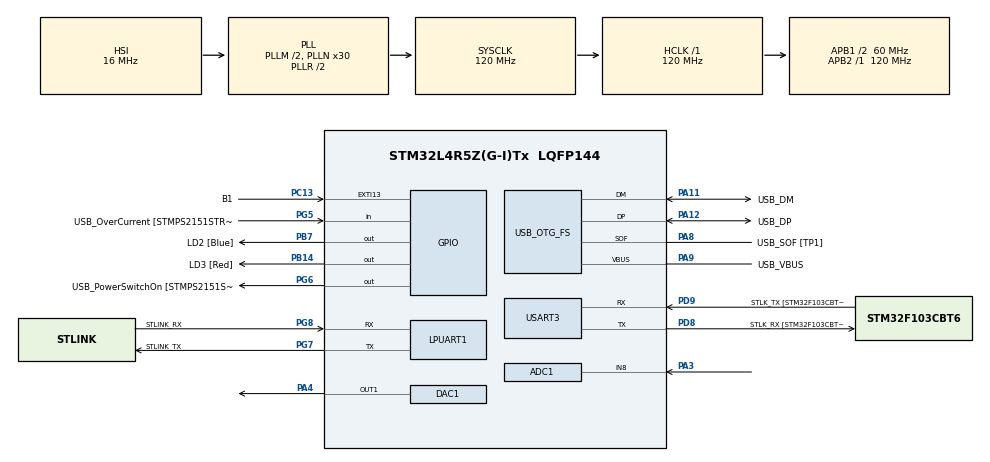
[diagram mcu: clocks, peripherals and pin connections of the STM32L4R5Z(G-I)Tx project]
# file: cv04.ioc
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ADC1.Channel-0\#ChannelRegularConversion=ADC_CHANNEL_8
ADC1.ExternalTrigConv=ADC_EXTERNALTRIG_T3_TRGO
ADC1.NbrOfConversionFlag=1
ADC1.OffsetNumber-0\#ChannelRegularConversion=ADC_OFFSET_NONE
ADC1.Rank-0\#ChannelRegularConversion=1
ADC1.SamplingTime-0\#ChannelRegularConversion=ADC_SAMPLETIME_2CYCLES_5
ADC1.master=1
FREERTOS.BinarySemaphores01=Semaphore1,Dynamic,NULL,Depleted;RegulationSemaphore,Dynamic,NULL,Depleted;CommunicationSemaphore,Dynamic,NULL,Depleted
FREERTOS.Mutexes01=CommunicationMutex,Dynamic,NULL,Available
FREERTOS.Queues01=Fronta,1,uint32_t,0,Dynamic,NULL,NULL
FREERTOS.Tasks01=Filtrace,24,256,StartFiltrace,Default,NULL,Dynamic,NULL,NULL;Regulace,24,128,StartRegulace,Default,NULL,Dynamic,NULL,NULL;Communication,25,128,StartCommunication,Default,NULL,Dynamic,NULL,NULL
FREERTOS.Timers01=myTimer01,Callback01,osTimerPeriodic,Default,NULL,Dynamic,NULL
FREERTOS.configUSE_NEWLIB_REENTRANT=1
Mcu.Family=STM32L4
Mcu.Name=STM32L4R5Z(G-I)Tx
Mcu.Package=LQFP144
NVIC.ADC1_IRQn=true\:5\:0\:false\:false\:true\:true\:true\:true\:true
NVIC.EXTI15_10_IRQn=true\:5\:0\:false\:false\:true\:true\:true\:true\:true
NVIC.PriorityGroup=NVIC_PRIORITYGROUP_4
NVIC.TIM3_IRQn=true\:5\:0\:false\:false\:true\:true\:true\:true\:true
NVIC.TIM4_IRQn=true\:5\:0\:false\:false\:true\:true\:true\:true\:true
NVIC.TIM6_DAC_IRQn=true\:5\:0\:false\:false\:true\:false\:false\:true\:true
NVIC.TIM7_IRQn=true\:5\:0\:false\:false\:true\:true\:true\:true\:true
NVIC.TimeBase=TIM6_DAC_IRQn
NVIC.TimeBaseIP=TIM6
PA10.GPIO_Label=USB_ID
PA10.Signal=USB_OTG_FS_ID
PA11.GPIO_Label=USB_DM
PA11.Mode=Device_Only
PA11.Signal=USB_OTG_FS_DM
PA12.GPIO_Label=USB_DP
PA12.Mode=Device_Only
PA12.Signal=USB_OTG_FS_DP
PA13\ (JTMS/SWDIO).GPIO_Label=TMS
PA13\ (JTMS/SWDIO).Mode=Trace_Asynchronous_SW
PA13\ (JTMS/SWDIO).Signal=SYS_JTMS-SWDIO
PA14\ (JTCK/SWCLK).GPIO_Label=TCK
PA14\ (JTCK/SWCLK).Mode=Trace_Asynchronous_SW
PA14\ (JTCK/SWCLK).Signal=SYS_JTCK-SWCLK
PA3.Signal=ADCx_IN8
PA4.Signal=COMP_DAC11_group
PA8.GPIO_Label=USB_SOF [TP1]
PA8.Mode=Activate_SOF_FS
PA8.Signal=USB_OTG_FS_SOF
PA9.GPIO_Label=USB_VBUS
PA9.Mode=Activate_VBUS
PA9.Signal=USB_OTG_FS_VBUS
PB14.GPIO_Label=LD3 [Red]
PB14.Signal=GPIO_Output
PB3\ (JTDO/TRACESWO).GPIO_Label=SWO
PB3\ (JTDO/TRACESWO).Mode=Trace_Asynchronous_SW
PB3\ (JTDO/TRACESWO).Signal=SYS_JTDO-SWO
PB7.GPIO_Label=LD2 [Blue]
PB7.Signal=GPIO_Output
PC13.GPIO_Label=B1
PC13.Signal=GPXTI13
PC14-OSC32_IN\ (PC14).Mode=LSE-External-Oscillator
PC14-OSC32_IN\ (PC14).Signal=RCC_OSC32_IN
PC15-OSC32_OUT\ (PC15).Mode=LSE-External-Oscillator
PC15-OSC32_OUT\ (PC15).Signal=RCC_OSC32_OUT
PD8.GPIO_Label=STLK_RX [STM32F103CBT6_PA3]
PD8.Mode=Asynchronous
PD8.Signal=USART3_TX
PD9.GPIO_Label=STLK_TX [STM32F103CBT6_PA2]
PD9.Mode=Asynchronous
PD9.Signal=USART3_RX
PG5.GPIO_Label=USB_OverCurrent [STMPS2151STR_FAULT]
PG5.Signal=GPIO_Input
PG6.GPIO_Label=USB_PowerSwitchOn [STMPS2151STR_EN]
PG6.Signal=GPIO_Output
PG7.GPIO_Label=STLINK_TX
PG7.Mode=Asynchronous
PG7.Signal=LPUART1_TX
PG8.GPIO_Label=STLINK_RX
PG8.Mode=Asynchronous
PG8.Signal=LPUART1_RX
PH0-OSC_IN\ (PH0).Signal=RCC_OSC_IN
PH1-OSC_OUT\ (PH1).Signal=RCC_OSC_OUT
ProjectManager.HeapSize=0x200
ProjectManager.StackSize=0x400
ProjectManager.TargetToolchain=STM32CubeIDE
RCC.48MHZClocksFreq_Value=24000000
RCC.ADCFreq_Value=96000000
RCC.AHBFreq_Value=120000000
RCC.APB1CLKDivider=RCC_HCLK_DIV2
RCC.APB1Freq_Value=60000000
RCC.APB1TimFreq_Value=120000000
RCC.APB2Freq_Value=120000000
RCC.APB2TimFreq_Value=120000000
RCC.CK48CLockSelection=RCC_USBCLKSOURCE_HSI48
RCC.CortexFreq_Value=120000000
RCC.HCLKFreq_Value=120000000
RCC.HSE_VALUE=8000000
RCC.HSI48_VALUE=48000000
RCC.HSI_VALUE=16000000
RCC.MSI_VALUE=4000000
RCC.PLLM1=2
RCC.PLLMUL=RCC_PLL_MUL9
RCC.PLLN=30
RCC.PLLSAI1N=12
RCC.PLLSourceVirtual=RCC_PLLSOURCE_HSI
RCC.PRESCALERUSB=RCC_USBCLKSOURCE_PLL_DIV1_5
RCC.SYSCLKFreq_VALUE=120000000
RCC.SYSCLKSource=RCC_SYSCLKSOURCE_PLLCLK
RCC.SYSCLKSourceVirtual=RCC_SYSCLKSOURCE_PLLCLK
RCC.USBFreq_Value=48000000
RCC.VCOOutputFreq_Value=240000000
SH.ADCx_IN8.0=ADC1_IN8,IN8-Single-Ended
SH.COMP_DAC11_group.0=DAC1_OUT1,DAC_OUT1
TIM3.AutoReloadPreload=TIM_AUTORELOAD_PRELOAD_ENABLE
TIM3.Period=10000-1
TIM3.Prescaler=12-1
TIM3.TIM_MasterOutputTrigger=TIM_TRGO_UPDATE
TIM4.AutoReloadPreload=TIM_AUTORELOAD_PRELOAD_ENABLE
TIM4.Period=10000-1
TIM4.Prescaler=6000-1
TIM4.TIM_MasterOutputTrigger=TIM_TRGO_UPDATE
TIM7.AutoReloadPreload=TIM_AUTORELOAD_PRELOAD_ENABLE
TIM7.Period=10000-1
TIM7.Prescaler=240-1
TIM7.TIM_MasterOutputTrigger=TIM_TRGO_UPDATE
USART3.VirtualMode-Asynchronous=VM_ASYNC
USB_OTG_FS.VirtualMode=Device_Only
VP_FREERTOS_VS_CMSIS_V2.Mode=CMSIS_V2
VP_SYS_VS_tim6.Mode=TIM6
VP_TIM3_VS_ClockSourceINT.Mode=Internal
VP_TIM4_VS_ClockSourceINT.Mode=Internal
VP_TIM7_VS_ClockSourceINT.Mode=Enable_Timer
board=NUCLEO-L4R5ZI

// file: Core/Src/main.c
/* USER CODE BEGIN Header */
/**
  ******************************************************************************
  * @file           : main.c
  * @brief          : Main program body
  ******************************************************************************
  * @attention
  *
  * Copyright (c) 2024 STMicroelectronics.
  * All rights reserved.
  *
  * This software is licensed under terms that can be found in the LICENSE file
  * in the root directory of this software component.
  * If no LICENSE file comes with this software, it is provided AS-IS.
  *
  ******************************************************************************
  */
/* USER CODE END Header */
#include "main.h"
#include "cmsis_os.h"
#include "queue.h"

/* USER CODE BEGIN PM */
struct DataCom{
	double Setpoint;
	double ControlledVariable;
	double ManipulatedVariable;
	double ControlError;
	double PropGain;
	double IntegralTimeConstant;
} ControlData;
double GlobalIntergralTimeConstant=2;
double GlobalPropGain=1;
double GlobalControlError=0;
double GlobalManipulatedVariable=0;
double GlobalControlledVariable=0;
double GlobalSetpoint=0;
uint32_t ExecTime=0;
uint32_t FilterOutput=0;
uint32_t k = 0;
uint32_t N = 20;
uint32_t ADCInput = 0;
double DAC_OUTPUT = 0;
double RPM = 0;
double Setpoint = 0;
double ControlledVariable = 0;
uint32_t FiltrData = 0;
double ManipulatedVariable = 0;
double ControlError = 0;
double PropGain = 1;
double IntegralTimeConstant = 2;
uint32_t CommunicationExecutionTime;
uint32_t ControlExecutionTime;

#define N 20

/* USER CODE END PM */

ADC_HandleTypeDef hadc1;

DAC_HandleTypeDef hdac1;

UART_HandleTypeDef hlpuart1;
UART_HandleTypeDef huart3;

TIM_HandleTypeDef htim3;
TIM_HandleTypeDef htim4;
TIM_HandleTypeDef htim7;

PCD_HandleTypeDef hpcd_USB_OTG_FS;

/* Definitions for Filtrace */
osThreadId_t FiltraceHandle;
const osThreadAttr_t Filtrace_attributes = {
  .name = "Filtrace",
  .stack_size = 256 * 4,
  .priority = (osPriority_t) osPriorityNormal,
};
/* Definitions for Regulace */
osThreadId_t RegulaceHandle;
const osThreadAttr_t Regulace_attributes = {
  .name = "Regulace",
  .stack_size = 128 * 4,
  .priority = (osPriority_t) osPriorityNormal,
};
/* Definitions for Communication */
osThreadId_t CommunicationHandle;
const osThreadAttr_t Communication_attributes = {
  .name = "Communication",
  .stack_size = 128 * 4,
  .priority = (osPriority_t) osPriorityNormal1,
};
/* Definitions for Fronta */
osMessageQueueId_t FrontaHandle;
const osMessageQueueAttr_t Fronta_attributes = {
  .name = "Fronta"
};
/* Definitions for myTimer01 */
osTimerId_t myTimer01Handle;
const osTimerAttr_t myTimer01_attributes = {
  .name = "myTimer01"
};
/* Definitions for CommunicationMutex */
osMutexId_t CommunicationMutexHandle;
const osMutexAttr_t CommunicationMutex_attributes = {
  .name = "CommunicationMutex"
};
/* Definitions for Semaphore1 */
osSemaphoreId_t Semaphore1Handle;
const osSemaphoreAttr_t Semaphore1_attributes = {
  .name = "Semaphore1"
};
/* Definitions for RegulationSemaphore */
osSemaphoreId_t RegulationSemaphoreHandle;
const osSemaphoreAttr_t RegulationSemaphore_attributes = {
  .name = "RegulationSemaphore"
};
/* Definitions for CommunicationSemaphore */
osSemaphoreId_t CommunicationSemaphoreHandle;
const osSemaphoreAttr_t CommunicationSemaphore_attributes = {
  .name = "CommunicationSemaphore"
};

void SystemClock_Config(void);
static void MX_GPIO_Init(void);
static void MX_LPUART1_UART_Init(void);
static void MX_USART3_UART_Init(void);
static void MX_USB_OTG_FS_PCD_Init(void);
static void MX_TIM7_Init(void);
static void MX_ADC1_Init(void);
static void MX_TIM3_Init(void);
static void MX_DAC1_Init(void);
static void MX_TIM4_Init(void);
void StartFiltrace(void *argument);
void StartRegulace(void *argument);
void StartCommunication(void *argument);
void Callback01(void *argument);

int main(void)
{

  /* MCU Configuration--------------------------------------------------------*/

  /* Reset of all peripherals, Initializes the Flash interface and the Systick. */
  HAL_Init();

  /* Configure the system clock */
  SystemClock_Config();

  /* Initialize all configured peripherals */
  MX_GPIO_Init();
  MX_LPUART1_UART_Init();
  MX_USART3_UART_Init();
  MX_USB_OTG_FS_PCD_Init();
  MX_TIM7_Init();
  MX_ADC1_Init();
  MX_TIM3_Init();
  MX_DAC1_Init();
  MX_TIM4_Init();
  /* USER CODE BEGIN 2 */
  ControlData.ControlError=0;
  ControlData.ControlledVariable=0;
  ControlData.IntegralTimeConstant=1;
  ControlData.ManipulatedVariable=0;
  ControlData.PropGain=2;
  ControlData.Setpoint=0;
  HAL_TIM_Base_Start_IT(&htim3);
  HAL_TIM_Base_Start_IT(&htim4);
  HAL_TIM_Base_Start_IT(&htim7);
  HAL_ADC_Start_IT(&hadc1);
  HAL_DAC_Start(&hdac1, DAC1_CHANNEL_1);

  /* USER CODE END 2 */

  /* Init scheduler */
  osKernelInitialize();
  /* Create the mutex(es) */
  /* creation of CommunicationMutex */
  CommunicationMutexHandle = osMutexNew(&CommunicationMutex_attributes);

  /* Create the semaphores(s) */
  /* creation of Semaphore1 */
  Semaphore1Handle = osSemaphoreNew(1, 0, &Semaphore1_attributes);

  /* creation of RegulationSemaphore */
  RegulationSemaphoreHandle = osSemaphoreNew(1, 0, &RegulationSemaphore_attributes);

  /* creation of CommunicationSemaphore */
  CommunicationSemaphoreHandle = osSemaphoreNew(1, 0, &CommunicationSemaphore_attributes);

  /* Create the timer(s) */
  /* creation of myTimer01 */
  myTimer01Handle = osTimerNew(Callback01, osTimerPeriodic, NULL, &myTimer01_attributes);

  /* USER CODE BEGIN RTOS_TIMERS */
  /* start timers, add new ones, ... */
  osTimerStart(myTimer01Handle, 500);
  /* USER CODE END RTOS_TIMERS */

  /* Create the queue(s) */
  /* creation of Fronta */
  FrontaHandle = osMessageQueueNew (1, sizeof(uint32_t), &Fronta_attributes);

  /* Create the thread(s) */
  /* creation of Filtrace */
  FiltraceHandle = osThreadNew(StartFiltrace, NULL, &Filtrace_attributes);

  /* creation of Regulace */
  RegulaceHandle = osThreadNew(StartRegulace, NULL, &Regulace_attributes);

  /* creation of Communication */
  CommunicationHandle = osThreadNew(StartCommunication, NULL, &Communication_attributes);

  /* Start scheduler */
  osKernelStart();

  /* We should never get here as control is now taken by the scheduler */

  /* Infinite loop */
  while (1)
  {

  }
}

void SystemClock_Config(void)
{
  RCC_OscInitTypeDef RCC_OscInitStruct = {0};
  RCC_ClkInitTypeDef RCC_ClkInitStruct = {0};

  /** Configure the main internal regulator output voltage
  */
  if (HAL_PWREx_ControlVoltageScaling(PWR_REGULATOR_VOLTAGE_SCALE1_BOOST) != HAL_OK)
  {
    Error_Handler();
  }

  /** Initializes the RCC Oscillators according to the specified parameters
  * in the RCC_OscInitTypeDef structure.
  */
  RCC_OscInitStruct.OscillatorType = RCC_OSCILLATORTYPE_HSI48|RCC_OSCILLATORTYPE_HSI;
  RCC_OscInitStruct.HSIState = RCC_HSI_ON;
  RCC_OscInitStruct.HSI48State = RCC_HSI48_ON;
  RCC_OscInitStruct.HSICalibrationValue = RCC_HSICALIBRATION_DEFAULT;
  RCC_OscInitStruct.PLL.PLLState = RCC_PLL_ON;
  RCC_OscInitStruct.PLL.PLLSource = RCC_PLLSOURCE_HSI;
  RCC_OscInitStruct.PLL.PLLM = 2;
  RCC_OscInitStruct.PLL.PLLN = 30;
  RCC_OscInitStruct.PLL.PLLP = RCC_PLLP_DIV2;
  RCC_OscInitStruct.PLL.PLLQ = RCC_PLLQ_DIV2;
  RCC_OscInitStruct.PLL.PLLR = RCC_PLLR_DIV2;
  if (HAL_RCC_OscConfig(&RCC_OscInitStruct) != HAL_OK)
  {
    Error_Handler();
  }

  /** Initializes the CPU, AHB and APB buses clocks
  */
  RCC_ClkInitStruct.ClockType = RCC_CLOCKTYPE_HCLK|RCC_CLOCKTYPE_SYSCLK
                              |RCC_CLOCKTYPE_PCLK1|RCC_CLOCKTYPE_PCLK2;
  RCC_ClkInitStruct.SYSCLKSource = RCC_SYSCLKSOURCE_PLLCLK;
  RCC_ClkInitStruct.AHBCLKDivider = RCC_SYSCLK_DIV1;
  RCC_ClkInitStruct.APB1CLKDivider = RCC_HCLK_DIV2;
  RCC_ClkInitStruct.APB2CLKDivider = RCC_HCLK_DIV1;

  if (HAL_RCC_ClockConfig(&RCC_ClkInitStruct, FLASH_LATENCY_5) != HAL_OK)
  {
    Error_Handler();
  }
}

static void MX_ADC1_Init(void)
{

  ADC_ChannelConfTypeDef sConfig = {0};

  /** Common config
  */
  hadc1.Instance = ADC1;
  hadc1.Init.ClockPrescaler = ADC_CLOCK_ASYNC_DIV2;
  hadc1.Init.Resolution = ADC_RESOLUTION_12B;
  hadc1.Init.DataAlign = ADC_DATAALIGN_RIGHT;
  hadc1.Init.ScanConvMode = ADC_SCAN_DISABLE;
  hadc1.Init.EOCSelection = ADC_EOC_SINGLE_CONV;
  hadc1.Init.LowPowerAutoWait = DISABLE;
  hadc1.Init.ContinuousConvMode = DISABLE;
  hadc1.Init.NbrOfConversion = 1;
  hadc1.Init.DiscontinuousConvMode = DISABLE;
  hadc1.Init.ExternalTrigConv = ADC_EXTERNALTRIG_T3_TRGO;
  hadc1.Init.ExternalTrigConvEdge = ADC_EXTERNALTRIGCONVEDGE_RISING;
  hadc1.Init.DMAContinuousRequests = DISABLE;
  hadc1.Init.Overrun = ADC_OVR_DATA_PRESERVED;
  hadc1.Init.OversamplingMode = DISABLE;
  if (HAL_ADC_Init(&hadc1) != HAL_OK)
  {
    Error_Handler();
  }

  /** Configure Regular Channel
  */
  sConfig.Channel = ADC_CHANNEL_8;
  sConfig.Rank = ADC_REGULAR_RANK_1;
  sConfig.SamplingTime = ADC_SAMPLETIME_2CYCLES_5;
  sConfig.SingleDiff = ADC_SINGLE_ENDED;
  sConfig.OffsetNumber = ADC_OFFSET_NONE;
  sConfig.Offset = 0;
  if (HAL_ADC_ConfigChannel(&hadc1, &sConfig) != HAL_OK)
  {
    Error_Handler();
  }
  /* USER CODE BEGIN ADC1_Init 2 */
  HAL_ADCEx_Calibration_Start(&hadc1, ADC_SINGLE_ENDED);

  /* USER CODE END ADC1_Init 2 */

}

static void MX_DAC1_Init(void)
{

  DAC_ChannelConfTypeDef sConfig = {0};

  /** DAC Initialization
  */
  hdac1.Instance = DAC1;
  if (HAL_DAC_Init(&hdac1) != HAL_OK)
  {
    Error_Handler();
  }

  /** DAC channel OUT1 config
  */
  sConfig.DAC_SampleAndHold = DAC_SAMPLEANDHOLD_DISABLE;
  sConfig.DAC_Trigger = DAC_TRIGGER_NONE;
  sConfig.DAC_HighFrequency = DAC_HIGH_FREQUENCY_INTERFACE_MODE_DISABLE;
  sConfig.DAC_OutputBuffer = DAC_OUTPUTBUFFER_ENABLE;
  sConfig.DAC_ConnectOnChipPeripheral = DAC_CHIPCONNECT_DISABLE;
  sConfig.DAC_UserTrimming = DAC_TRIMMING_FACTORY;
  if (HAL_DAC_ConfigChannel(&hdac1, &sConfig, DAC_CHANNEL_1) != HAL_OK)
  {
    Error_Handler();
  }

}

static void MX_LPUART1_UART_Init(void)
{

  hlpuart1.Instance = LPUART1;
  hlpuart1.Init.BaudRate = 209700;
  hlpuart1.Init.WordLength = UART_WORDLENGTH_7B;
  hlpuart1.Init.StopBits = UART_STOPBITS_1;
  hlpuart1.Init.Parity = UART_PARITY_NONE;
  hlpuart1.Init.Mode = UART_MODE_TX_RX;
  hlpuart1.Init.HwFlowCtl = UART_HWCONTROL_NONE;
  hlpuart1.Init.OneBitSampling = UART_ONE_BIT_SAMPLE_DISABLE;
  hlpuart1.Init.ClockPrescaler = UART_PRESCALER_DIV1;
  hlpuart1.AdvancedInit.AdvFeatureInit = UART_ADVFEATURE_NO_INIT;
  hlpuart1.FifoMode = UART_FIFOMODE_DISABLE;
  if (HAL_UART_Init(&hlpuart1) != HAL_OK)
  {
    Error_Handler();
  }
  if (HAL_UARTEx_SetTxFifoThreshold(&hlpuart1, UART_TXFIFO_THRESHOLD_1_8) != HAL_OK)
  {
    Error_Handler();
  }
  if (HAL_UARTEx_SetRxFifoThreshold(&hlpuart1, UART_RXFIFO_THRESHOLD_1_8) != HAL_OK)
  {
    Error_Handler();
  }
  if (HAL_UARTEx_DisableFifoMode(&hlpuart1) != HAL_OK)
  {
    Error_Handler();
  }

}

static void MX_USART3_UART_Init(void)
{

  huart3.Instance = USART3;
  huart3.Init.BaudRate = 115200;
  huart3.Init.WordLength = UART_WORDLENGTH_8B;
  huart3.Init.StopBits = UART_STOPBITS_1;
  huart3.Init.Parity = UART_PARITY_NONE;
  huart3.Init.Mode = UART_MODE_TX_RX;
  huart3.Init.HwFlowCtl = UART_HWCONTROL_NONE;
  huart3.Init.OverSampling = UART_OVERSAMPLING_16;
  huart3.Init.OneBitSampling = UART_ONE_BIT_SAMPLE_DISABLE;
  huart3.Init.ClockPrescaler = UART_PRESCALER_DIV1;
  huart3.AdvancedInit.AdvFeatureInit = UART_ADVFEATURE_NO_INIT;
  if (HAL_UART_Init(&huart3) != HAL_OK)
  {
    Error_Handler();
  }
  if (HAL_UARTEx_SetTxFifoThreshold(&huart3, UART_TXFIFO_THRESHOLD_1_8) != HAL_OK)
  {
    Error_Handler();
  }
  if (HAL_UARTEx_SetRxFifoThreshold(&huart3, UART_RXFIFO_THRESHOLD_1_8) != HAL_OK)
  {
    Error_Handler();
  }
  if (HAL_UARTEx_DisableFifoMode(&huart3) != HAL_OK)
  {
    Error_Handler();
  }

}

static void MX_TIM3_Init(void)
{

  TIM_ClockConfigTypeDef sClockSourceConfig = {0};
  TIM_MasterConfigTypeDef sMasterConfig = {0};

  htim3.Instance = TIM3;
  htim3.Init.Prescaler = 12-1;
  htim3.Init.CounterMode = TIM_COUNTERMODE_UP;
  htim3.Init.Period = 10000-1;
  htim3.Init.ClockDivision = TIM_CLOCKDIVISION_DIV1;
  htim3.Init.AutoReloadPreload = TIM_AUTORELOAD_PRELOAD_ENABLE;
  if (HAL_TIM_Base_Init(&htim3) != HAL_OK)
  {
    Error_Handler();
  }
  sClockSourceConfig.ClockSource = TIM_CLOCKSOURCE_INTERNAL;
  if (HAL_TIM_ConfigClockSource(&htim3, &sClockSourceConfig) != HAL_OK)
  {
    Error_Handler();
  }
  sMasterConfig.MasterOutputTrigger = TIM_TRGO_UPDATE;
  sMasterConfig.MasterSlaveMode = TIM_MASTERSLAVEMODE_DISABLE;
  if (HAL_TIMEx_MasterConfigSynchronization(&htim3, &sMasterConfig) != HAL_OK)
  {
    Error_Handler();
  }

}

static void MX_TIM4_Init(void)
{

  TIM_ClockConfigTypeDef sClockSourceConfig = {0};
  TIM_MasterConfigTypeDef sMasterConfig = {0};

  htim4.Instance = TIM4;
  htim4.Init.Prescaler = 6000-1;
  htim4.Init.CounterMode = TIM_COUNTERMODE_UP;
  htim4.Init.Period = 10000-1;
  htim4.Init.ClockDivision = TIM_CLOCKDIVISION_DIV1;
  htim4.Init.AutoReloadPreload = TIM_AUTORELOAD_PRELOAD_ENABLE;
  if (HAL_TIM_Base_Init(&htim4) != HAL_OK)
  {
    Error_Handler();
  }
  sClockSourceConfig.ClockSource = TIM_CLOCKSOURCE_INTERNAL;
  if (HAL_TIM_ConfigClockSource(&htim4, &sClockSourceConfig) != HAL_OK)
  {
    Error_Handler();
  }
  sMasterConfig.MasterOutputTrigger = TIM_TRGO_UPDATE;
  sMasterConfig.MasterSlaveMode = TIM_MASTERSLAVEMODE_DISABLE;
  if (HAL_TIMEx_MasterConfigSynchronization(&htim4, &sMasterConfig) != HAL_OK)
  {
    Error_Handler();
  }

}

static void MX_TIM7_Init(void)
{

  TIM_MasterConfigTypeDef sMasterConfig = {0};

  htim7.Instance = TIM7;
  htim7.Init.Prescaler = 240-1;
  htim7.Init.CounterMode = TIM_COUNTERMODE_UP;
  htim7.Init.Period = 10000-1;
  htim7.Init.AutoReloadPreload = TIM_AUTORELOAD_PRELOAD_ENABLE;
  if (HAL_TIM_Base_Init(&htim7) != HAL_OK)
  {
    Error_Handler();
  }
  sMasterConfig.MasterOutputTrigger = TIM_TRGO_UPDATE;
  sMasterConfig.MasterSlaveMode = TIM_MASTERSLAVEMODE_DISABLE;
  if (HAL_TIMEx_MasterConfigSynchronization(&htim7, &sMasterConfig) != HAL_OK)
  {
    Error_Handler();
  }

}

static void MX_USB_OTG_FS_PCD_Init(void)
{

  hpcd_USB_OTG_FS.Instance = USB_OTG_FS;
  hpcd_USB_OTG_FS.Init.dev_endpoints = 6;
  hpcd_USB_OTG_FS.Init.speed = PCD_SPEED_FULL;
  hpcd_USB_OTG_FS.Init.phy_itface = PCD_PHY_EMBEDDED;
  hpcd_USB_OTG_FS.Init.Sof_enable = ENABLE;
  hpcd_USB_OTG_FS.Init.low_power_enable = DISABLE;
  hpcd_USB_OTG_FS.Init.lpm_enable = DISABLE;
  hpcd_USB_OTG_FS.Init.battery_charging_enable = ENABLE;
  hpcd_USB_OTG_FS.Init.use_dedicated_ep1 = DISABLE;
  hpcd_USB_OTG_FS.Init.vbus_sensing_enable = ENABLE;
  if (HAL_PCD_Init(&hpcd_USB_OTG_FS) != HAL_OK)
  {
    Error_Handler();
  }

}

static void MX_GPIO_Init(void)
{
  GPIO_InitTypeDef GPIO_InitStruct = {0};

  /* GPIO Ports Clock Enable */
  __HAL_RCC_GPIOC_CLK_ENABLE();
  __HAL_RCC_GPIOH_CLK_ENABLE();
  __HAL_RCC_GPIOA_CLK_ENABLE();
  __HAL_RCC_GPIOB_CLK_ENABLE();
  __HAL_RCC_GPIOD_CLK_ENABLE();
  __HAL_RCC_GPIOG_CLK_ENABLE();
  HAL_PWREx_EnableVddIO2();

  /*Configure GPIO pin Output Level */
  HAL_GPIO_WritePin(GPIOB, LD3_Pin|LD2_Pin, GPIO_PIN_RESET);

  /*Configure GPIO pin Output Level */
  HAL_GPIO_WritePin(USB_PowerSwitchOn_GPIO_Port, USB_PowerSwitchOn_Pin, GPIO_PIN_RESET);

  /*Configure GPIO pin : B1_Pin */
  GPIO_InitStruct.Pin = B1_Pin;
  GPIO_InitStruct.Mode = GPIO_MODE_IT_RISING;
  GPIO_InitStruct.Pull = GPIO_NOPULL;
  HAL_GPIO_Init(B1_GPIO_Port, &GPIO_InitStruct);

  /*Configure GPIO pins : LD3_Pin LD2_Pin */
  GPIO_InitStruct.Pin = LD3_Pin|LD2_Pin;
  GPIO_InitStruct.Mode = GPIO_MODE_OUTPUT_PP;
  GPIO_InitStruct.Pull = GPIO_NOPULL;
  GPIO_InitStruct.Speed = GPIO_SPEED_FREQ_LOW;
  HAL_GPIO_Init(GPIOB, &GPIO_InitStruct);

  /*Configure GPIO pin : USB_OverCurrent_Pin */
  GPIO_InitStruct.Pin = USB_OverCurrent_Pin;
  GPIO_InitStruct.Mode = GPIO_MODE_INPUT;
  GPIO_InitStruct.Pull = GPIO_NOPULL;
  HAL_GPIO_Init(USB_OverCurrent_GPIO_Port, &GPIO_InitStruct);

  /*Configure GPIO pin : USB_PowerSwitchOn_Pin */
  GPIO_InitStruct.Pin = USB_PowerSwitchOn_Pin;
  GPIO_InitStruct.Mode = GPIO_MODE_OUTPUT_PP;
  GPIO_InitStruct.Pull = GPIO_NOPULL;
  GPIO_InitStruct.Speed = GPIO_SPEED_FREQ_LOW;
  HAL_GPIO_Init(USB_PowerSwitchOn_GPIO_Port, &GPIO_InitStruct);

  /* EXTI interrupt init*/
  HAL_NVIC_SetPriority(EXTI15_10_IRQn, 5, 0);
  HAL_NVIC_EnableIRQ(EXTI15_10_IRQn);

}

/* USER CODE BEGIN 4 */

void HAL_ADC_ConvCpltCallback (ADC_HandleTypeDef * hadc) {
	osSemaphoreRelease(Semaphore1Handle);
}

/* USER CODE END 4 */

void StartFiltrace(void *argument)
{
  /* USER CODE BEGIN 5 */
   // Proměnná pro aktuální vzorek
  uint32_t buffer[N] = {0}; // Kruhový buffer pro N vzorků, inicializován na 0
  int index = 0; // Index pro přístup do bufferu
  uint32_t sum = 0; // Součet všech prvků v bufferu
  /* Infinite loop */
  for (;;)
  {
    ADCInput = HAL_ADC_GetValue(&hadc1);

    sum -= buffer[index];
    buffer[index] = ADCInput;
    sum += ADCInput;

    index = (index + 1) % N;
    xQueueOverwrite(FrontaHandle,&sum);
    FilterOutput = sum / N;
    //HAL_DAC_SetValue(&hdac1, DAC1_CHANNEL_1, DAC_ALIGN_12B_R, DACOut);

    osSemaphoreAcquire(Semaphore1Handle, osWaitForever);
  }
  /* USER CODE END 5 */
}

void StartRegulace(void *argument)
{
  /* USER CODE BEGIN StartRegulace */
  /* Infinite loop */
	double Pterm;
	double Iterm;
	uint32_t Umin = 0;
	uint32_t Umax = 4095;
	double Epast=0,  Ipast=0;
	double Tsampling=0.02;
	double Ti=2;
	uint32_t StartTime;
	osStatus_t MutexStat;
  for(;;)
  {
	  osSemaphoreAcquire(RegulationSemaphoreHandle, osWaitForever);
	  StartTime = TIM3->CNT;
	  MutexStat=osMutexAcquire(CommunicationMutexHandle, 200);
	  if (MutexStat==osOK){
		  Ti = ControlData.IntegralTimeConstant;
		  PropGain = ControlData.PropGain;
		  Setpoint = ControlData.Setpoint;
	  }
	  osMessageQueueGet(FrontaHandle, &FiltrData, NULL, 2);
	  ControlledVariable=FiltrData*1.0/(N*1.0);
	  RPM=1400*ControlledVariable/1700.0;
	  ControlError=Setpoint-RPM;
	  Pterm=PropGain*ControlError;
	  Iterm=Ipast+0.5*PropGain*Tsampling*(ControlError+Epast)/Ti;
  	  ManipulatedVariable=Pterm+Iterm;
  	  if (ManipulatedVariable>Umax) {
  		  ManipulatedVariable=Umax;
  		  Iterm=Ipast;
  	  }
  	  if (ManipulatedVariable<Umin) {
  		  ManipulatedVariable=Umin;
  		  Iterm=Ipast;
  	  }
  	  DAC_OUTPUT=ManipulatedVariable;
  	  HAL_DAC_SetValue(&hdac1, DAC1_CHANNEL_1, DAC_ALIGN_12B_R, ManipulatedVariable);
  	  Ipast=Iterm;
  	  Epast=ControlError;
	  if (MutexStat==osOK){
	  	  ControlData.ManipulatedVariable = ManipulatedVariable;
	  	  ControlData.ControlError = ControlError;
	  	  ControlData.ControlledVariable = RPM;
		  osMutexRelease(CommunicationMutexHandle);
	  }
  	  ControlExecutionTime = TIM3->CNT - StartTime;
  }
  /* USER CODE END StartRegulace */
}

void StartCommunication(void *argument)
{
}

/* Callback01 function */
void Callback01(void *argument)
{
  /* USER CODE BEGIN Callback01 */
	  uint32_t StartTime;
	  osStatus_t MutexStat;
	  for(;;)
	  {
		  StartTime = TIM3->CNT;
		  MutexStat=osMutexAcquire(CommunicationMutexHandle, 200);
		  if (MutexStat==osOK){
			ControlData.Setpoint = GlobalSetpoint;
			ControlData.PropGain = GlobalPropGain;
			ControlData.IntegralTimeConstant = GlobalIntergralTimeConstant;
			GlobalControlError = ControlData.ControlError;
			GlobalControlledVariable = ControlData.ControlledVariable;
			GlobalManipulatedVariable = ControlData.ManipulatedVariable;
		  }
		  CommunicationExecutionTime = TIM3->CNT - StartTime;
		  osMutexRelease(CommunicationMutexHandle);
	  }
  /* USER CODE END Callback01 */
}

void HAL_TIM_PeriodElapsedCallback(TIM_HandleTypeDef *htim)
{
  if (htim->Instance == TIM6) {
    HAL_IncTick();
  }
  /* USER CODE BEGIN Callback 1 */
	if (htim==&htim3){
	}
	if (htim==&htim7){
		osSemaphoreRelease(RegulationSemaphoreHandle);
	}
	if (htim==&htim4){
		osSemaphoreRelease(CommunicationSemaphoreHandle);
	}
  /* USER CODE END Callback 1 */
}

void Error_Handler(void)
{
  __disable_irq();
  while (1)
  {
  }
}
